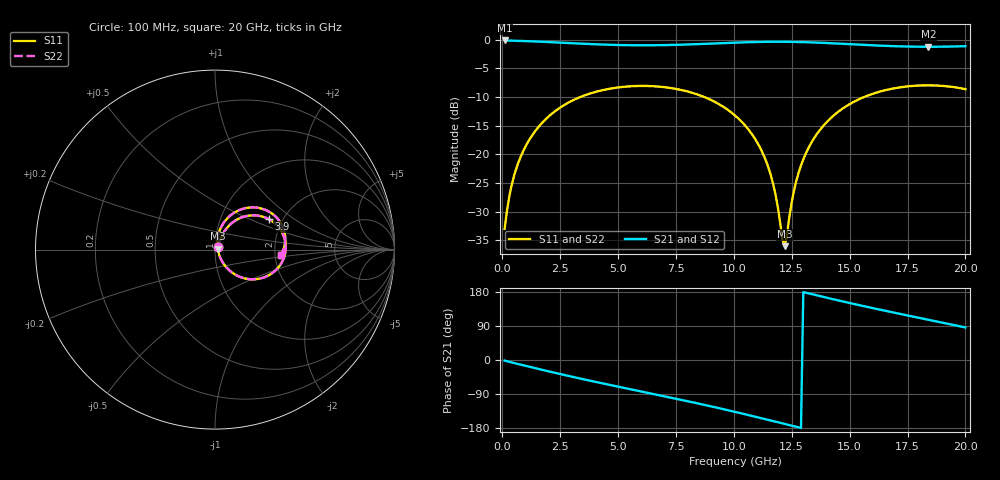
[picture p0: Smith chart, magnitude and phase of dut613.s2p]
! Touchstone file exported from HFSS 2026.1.0
!  File:  C:/ffzhzh/LocalFiles/Ansys_Project_Files/temp_train_TSV_RDL_613_1783123898_50312.aedt
!  Generated:  08:20:46 AM Jul  4, 2026
!  Design:  TSV_RDL
!  Project:  temp_train_TSV_RDL_613_1783123898_50312
! Variables:
!  h_bsmrdl = 2.4um
!  h_ox = 20um
!  h_rdl = 5um
!  h_sub = 78.01um
!  h_tmrdl = 5.85um
!  h_tsv = 78.01um
!  h_via = 3um
!  l_bsmrdl = 731.07um
!  l_sub = 4517.05um
!  l_tmrdl = 445.98um
!  m_sub = 200um
!  pitch = 46.7um
!  r_tsv = 14.39um
!  s_tmrdl = 10um
!  w_bsmrdl = 30um
!  w_sub = 500um
!  w_tmrdl = 16.64um
!  x_tsv_center1 = 454.3um
!  x_tsv_center2 = 1215.37um
!  x_tsv_center3 = 1677.99um
!  x_tsv_center4 = 2439.06um
!  x_tsv_center5 = 2901.68um
!  x_tsv_center6 = 3662.75um
# GHz S MA R 50.000000
! Terminal data exported
! Port[1] = TM_RDL1_1_T1
! Port[2] = TM_RDL5_1_T1
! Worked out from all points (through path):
!   200 points, 100 MHz to 20 GHz, reference 50 ohm
!   highest |S21| = -0.16 dB at 100 MHz (marker M1); lowest = -1.3 dB at 18.4 GHz (marker M2)
!   group delay of S21, straight-line fit = 38.2 ps
!   lowest |S11| = -36.0 dB at 12.2 GHz (marker M3), VSWR 1.03, Z = 51.5 + j0.46 ohm
!   |S11| at or under -10 dB: start of sweep to 3.384 GHz; 8.713 GHz to 15.63 GHz (6.921 GHz wide, 56.9 % of centre)
!   |S22| runs from -36.1 to -8.0 dB; largest |S21 - S12| = 1.7e-14
!   S11 on the Smith chart (normalised r, x): 100 MHz: 1.04, +0.03; 3.9 GHz: 1.69, +0.65; 20 GHz: 2.16, -0.14
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0.1  0.02234 34.2  0.9818 -1.6  0.9818 -1.6  0.02234 34.2
! Gamma 0 0 0 0
! Port Impedance 50 0 50 0
0.3  0.04266 57.0  0.9791 -4.8  0.9791 -4.8  0.04266 57.0
0.5  0.06411 62.1  0.9762 -7.8  0.9762 -7.8  0.06411 62.1
1.1  0.1269 62.1  0.9677 -16.8  0.9677 -16.8  0.1269 62.1
2.1  0.2223 51.9  0.9488 -31.4  0.9488 -31.4  0.2223 51.9
3.5  0.323 34.6  0.9189 -50.8  0.9189 -50.8  0.323 34.6
3.9  0.3437 29.7  0.9114 -56.1  0.9114 -56.1  0.3437 29.7
6.8  0.3883 -5.4  0.8929 -93.1  0.8929 -93.1  0.3883 -5.4
8.5  0.3283 -26.4  0.9133 -115.3  0.9133 -115.3  0.3283 -26.4
10.1  0.2135 -46.5  0.9408 -137.6  0.9408 -137.6  0.2135 -46.6
10.8  0.1477 -54.6  0.9503 -147.8  0.9503 -147.8  0.1478 -54.7
11.4  0.08632 -58.9  0.9553 -156.7  0.9553 -156.7  0.08633 -59.0
11.8  0.04459 -54.7  0.9565 -162.8  0.9565 -162.8  0.04458 -54.8
12.1  0.01804 -19.3  0.9563 -167.3  0.9563 -167.3  0.01794 -19.6
12.2  0.01582 16.4  0.956 -168.8  0.956 -168.8  0.01567 16.3
12.5  0.0383 70.3  0.9544 -173.3  0.9544 -173.3  0.0382 70.5
12.7  0.05882 76.1  0.9527 -176.3  0.9527 -176.3  0.05874 76.2
13.4  0.1315 74.6  0.9438 173.3  0.9438 173.3  0.1314 74.6
14.7  0.2505 59.7  0.9182 154.6  0.9182 154.6  0.2505 59.7
16.7  0.3681 35.0  0.8784 127.8  0.8784 127.8  0.3681 35.0
18.4  0.399 14.7  0.865 106.2  0.865 106.2  0.3989 14.7
20  0.3695 -4.3  0.8755 85.9  0.8755 85.9  0.3695 -4.3
